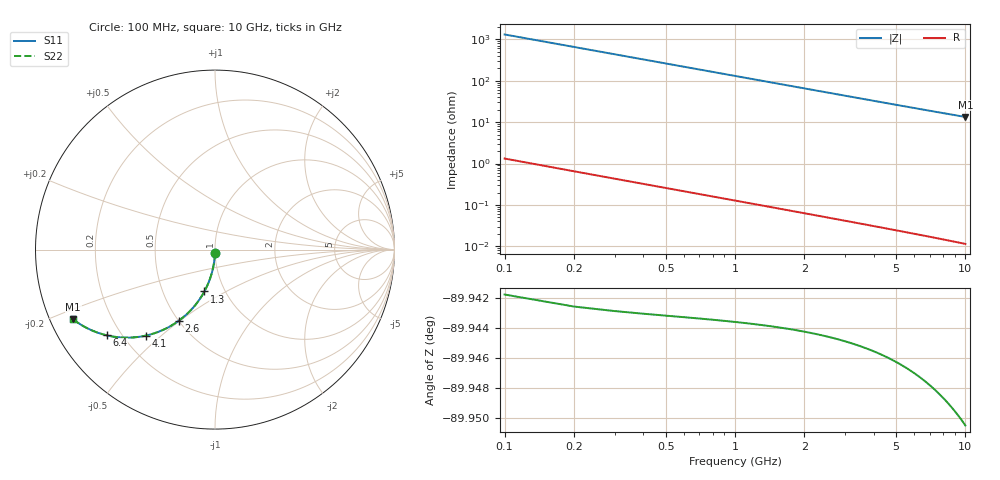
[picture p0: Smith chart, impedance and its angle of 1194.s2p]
# Hz S RI R 50.00
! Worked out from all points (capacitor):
!   100 points, 100 MHz to 10 GHz, reference 50 ohm
!   read as one part in shunt: C = 1.22 pF near 100 MHz
!   lowest |Z| = 13.3 ohm at 10 GHz (marker M1)
!   S11 on the Smith chart (normalised r, x): 100 MHz: 1.00, -0.04; 1.3 GHz: 0.80, -0.40; 2.6 GHz: 0.50, -0.50; 4.1 GHz: 0.29, -0.45; 6.4 GHz: 0.15, -0.34; 10 GHz: 0.07, -0.23
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1e8  -0.000321 -0.0191  0.9995 -0.0194  0.9995 -0.0194  -0.000321 -0.0191
2e8  -0.00145 -0.0381  0.9984 -0.0387  0.9984 -0.0387  -0.00145 -0.0381
3e8  -0.00331 -0.057  0.9966 -0.058  0.9966 -0.058  -0.00331 -0.057
4e8  -0.00589 -0.0758  0.994 -0.0772  0.994 -0.0772  -0.00589 -0.0758
5e8  -0.00919 -0.0944  0.9907 -0.0961  0.9907 -0.0961  -0.00919 -0.0944
6e8  -0.0132 -0.1128  0.9867 -0.1149  0.9867 -0.1149  -0.0132 -0.1128
7e8  -0.0179 -0.131  0.982 -0.1334  0.982 -0.1334  -0.0179 -0.131
8e8  -0.0232 -0.1489  0.9767 -0.1516  0.9767 -0.1516  -0.0232 -0.1489
1e9  -0.0358 -0.1837  0.9641 -0.1871  0.9641 -0.1871  -0.0358 -0.1837
1.3e9  -0.059 -0.233  0.9409 -0.2375  0.9409 -0.2375  -0.059 -0.233
1.5e9  -0.077 -0.2637  0.9228 -0.2688  0.9228 -0.2688  -0.077 -0.2637
1.8e9  -0.1072 -0.3059  0.8926 -0.3121  0.8926 -0.3121  -0.1072 -0.3059
2.2e9  -0.1521 -0.3549  0.8477 -0.3625  0.8477 -0.3625  -0.1521 -0.3549
2.6e9  -0.2004 -0.3954  0.7994 -0.4043  0.7994 -0.4043  -0.2004 -0.3954
3.4e9  -0.3001 -0.452  0.6997 -0.4637  0.6997 -0.4637  -0.3001 -0.452
4.1e9  -0.3841 -0.4788  0.6156 -0.493  0.6156 -0.493  -0.3841 -0.4788
5.1e9  -0.4914 -0.4906  0.5082 -0.5083  0.5082 -0.5083  -0.4914 -0.4906
6.4e9  -0.604 -0.4773  0.3956 -0.4997  0.3956 -0.4997  -0.604 -0.4773
6.7e9  -0.6258 -0.4716  0.3737 -0.495  0.3737 -0.495  -0.6258 -0.4716
7.5e9  -0.6774 -0.4537  0.3221 -0.48  0.3221 -0.48  -0.6774 -0.4537
8.4e9  -0.7253 -0.4309  0.2741 -0.4605  0.2741 -0.4605  -0.7253 -0.4309
1e10  -0.7899 -0.3888  0.2093 -0.4243  0.2093 -0.4243  -0.7899 -0.3888
